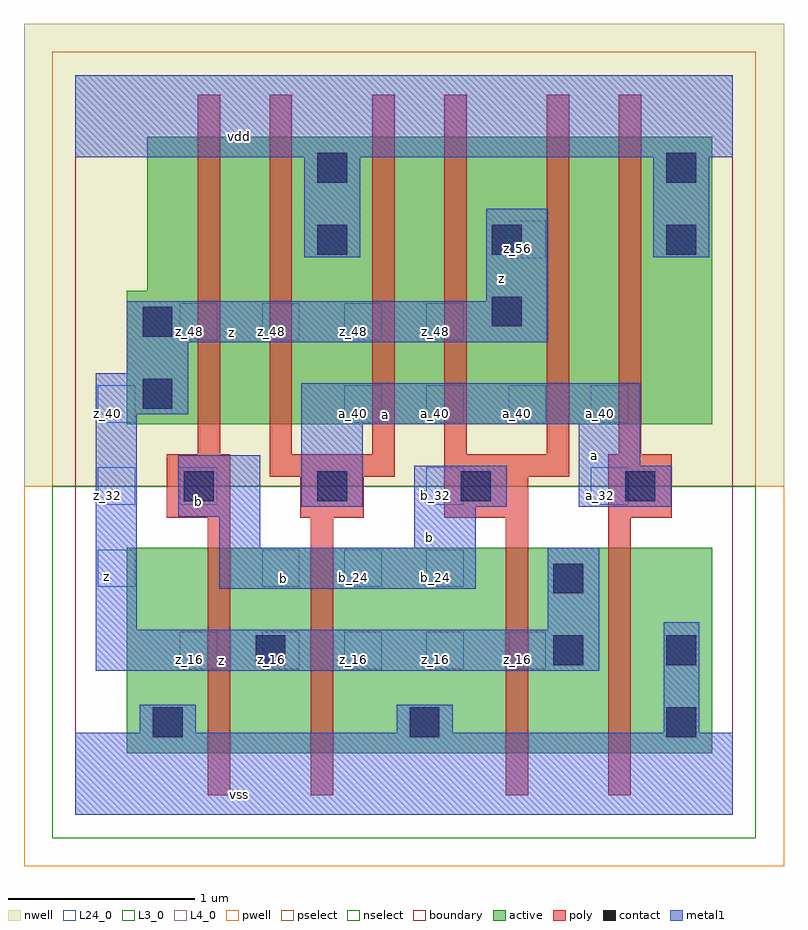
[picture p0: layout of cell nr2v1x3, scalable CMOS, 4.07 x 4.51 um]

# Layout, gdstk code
import gdstk
lib = gdstk.Library(unit=1e-6, precision=2.5e-09)
def R(c, l, rs):  # rectangles x0, y0, x1, y1
    for r in rs: c.add(gdstk.rectangle(r[:2], r[2:], *l))
def A(c, l, x, y, w, h, nx, ny, dx, dy):  # array of equal rectangles
    R(c, l, [(x+i*dx, y+j*dy, x+i*dx+w, y+j*dy+h) for i in range(nx) for j in range(ny)])
L3_0 = (3, 0)
L4_0 = (4, 0)
L24_0 = (24, 0)
contact = (25, 0)
pwell = (41, 0)
nwell = (42, 0)
active = (43, 0)
pselect = (44, 0)
nselect = (45, 0)
poly = (46, 0)
metal1 = (49, 0)
boundary = (63, 0)

nr2v1x3 = lib.new_cell('nr2v1x3')
R(nr2v1x3, L3_0, [(0.275,0.33,3.41,1.43)])
R(nr2v1x3, L4_0, [(0.275,2.09,3.41,2.805), (0.385,2.805,3.41,3.63)])
A(nr2v1x3, L24_0, 0.56, 0.78, 0.2, 0.2, 5, 1, 0.44, 0)
A(nr2v1x3, L24_0, 0.12, 1.22, 0.2, 0.2, 1, 3, 0, 0.44)
A(nr2v1x3, L24_0, 1, 1.22, 0.2, 0.2, 3, 1, 0.44, 0)
A(nr2v1x3, L24_0, 1.44, 2.1, 0.2, 0.2, 4, 1, 0.44, 0)
A(nr2v1x3, L24_0, 0.56, 2.54, 0.2, 0.2, 4, 1, 0.44, 0)
R(nr2v1x3, L24_0, [(0.56,1.66,0.76,1.86), (1.88,1.66,2.08,1.86), (2.76,1.66,2.96,1.86), (2.32,2.98,2.52,3.18)])
A(nr2v1x3, contact, 0.415, 0.415, 0.16, 0.16, 3, 1, 1.375, 0)
A(nr2v1x3, contact, 1.295, 3, 0.16, 0.16, 3, 1, 0.935, 0)
R(nr2v1x3, contact, [(0.965,0.8,1.125,0.96), (2.56,0.8,2.72,0.96), (3.165,0.8,3.325,0.96), (2.56,1.185,2.72,1.345), (0.58,1.68,0.74,1.84), (1.295,1.68,1.455,1.84), (2.065,1.68,2.225,1.84), (2.945,1.68,3.105,1.84), (0.36,2.175,0.52,2.335), (0.36,2.56,0.52,2.72), (2.23,2.615,2.39,2.775), (1.295,3.385,1.455,3.545), (3.165,3.385,3.325,3.545)])
R(nr2v1x3, pwell, [(-0.275,-0.275,3.795,1.76)])
R(nr2v1x3, nwell, [(-0.275,1.76,3.795,4.235)])
R(nr2v1x3, active, [(0.275,0.33,3.41,1.43), (0.275,2.09,3.41,2.805), (0.385,2.805,3.41,3.63)])
R(nr2v1x3, pselect, [(-0.125,1.76,3.645,4.085)])
R(nr2v1x3, nselect, [(-0.125,-0.125,3.645,1.76)])
R(nr2v1x3, poly, [(0.71,0.105,0.83,1.59), (1.26,0.105,1.38,1.59), (2.305,0.105,2.425,1.59), (2.855,0.105,2.975,1.59), (0.49,1.59,0.83,1.93), (1.205,1.59,1.545,1.81), (1.975,1.59,2.425,1.81), (2.855,1.59,3.195,1.93), (1.04,1.81,1.71,1.93), (1.975,1.81,2.645,1.93), (0.655,1.93,0.775,3.855), (1.04,1.93,1.16,3.855), (1.59,1.93,1.71,3.855), (1.975,1.93,2.095,3.855), (2.525,1.93,2.645,3.855), (2.91,1.93,3.03,3.855)])
R(nr2v1x3, metal1, [(0,0,3.52,0.44), (0.345,0.44,0.645,0.59), (1.72,0.44,2.02,0.59), (3.15,0.44,3.34,1.03), (0.11,0.77,2.805,0.99), (0.11,0.99,0.33,2.145), (2.53,0.99,2.805,1.43), (0.77,1.21,2.145,1.43), (0.77,1.43,0.99,1.595), (1.815,1.43,2.145,1.65), (0.55,1.595,0.99,1.925), (1.21,1.65,1.54,2.09), (1.815,1.65,2.31,1.87), (2.695,1.65,3.19,1.87), (2.695,1.87,3.025,2.09), (1.21,2.09,3.025,2.31), (0.11,2.145,0.605,2.365), (0.275,2.365,0.605,2.53), (0.275,2.53,2.53,2.75), (2.2,2.75,2.53,3.245), (1.225,2.985,1.525,3.52), (3.095,2.985,3.395,3.52), (0,3.52,3.52,3.96)])
R(nr2v1x3, boundary, [(0,0,3.52,3.96)])
nr2v1x3.add(gdstk.Label('vss', (0.88,0.11), layer=49, texttype=0))
nr2v1x3.add(gdstk.Label('z', (0.7825,0.825), layer=49, texttype=0))
nr2v1x3.add(gdstk.Label('b', (1.1125,1.265), layer=49, texttype=0))
nr2v1x3.add(gdstk.Label('b', (1.8975,1.485), layer=49, texttype=0))
nr2v1x3.add(gdstk.Label('a', (2.7775,1.925), layer=49, texttype=0))
nr2v1x3.add(gdstk.Label('b', (0.66,1.6775), layer=49, texttype=0))
nr2v1x3.add(gdstk.Label('a', (1.6625,2.145), layer=49, texttype=0))
nr2v1x3.add(gdstk.Label('z', (0.165,1.2775), layer=49, texttype=0))
nr2v1x3.add(gdstk.Label('z', (0.8375,2.585), layer=49, texttype=0))
nr2v1x3.add(gdstk.Label('z', (2.2825,2.8725), layer=49, texttype=0))
nr2v1x3.add(gdstk.Label('vdd', (0.88,3.63), layer=49, texttype=0))
nr2v1x3.add(gdstk.Label('a_40', (2.81,2.15), layer=24, texttype=0))
nr2v1x3.add(gdstk.Label('a_32', (2.81,1.71), layer=24, texttype=0))
nr2v1x3.add(gdstk.Label('z_56', (2.37,3.03), layer=24, texttype=0))
nr2v1x3.add(gdstk.Label('a_40', (2.37,2.15), layer=24, texttype=0))
nr2v1x3.add(gdstk.Label('z_16', (2.37,0.83), layer=24, texttype=0))
nr2v1x3.add(gdstk.Label('z_40', (0.17,2.15), layer=24, texttype=0))
nr2v1x3.add(gdstk.Label('z_32', (0.17,1.71), layer=24, texttype=0))
nr2v1x3.add(gdstk.Label('z_24', (0.17,1.27), layer=24, texttype=0))
nr2v1x3.add(gdstk.Label('z_48', (1.93,2.59), layer=24, texttype=0))
nr2v1x3.add(gdstk.Label('a_40', (1.93,2.15), layer=24, texttype=0))
nr2v1x3.add(gdstk.Label('b_32', (1.93,1.71), layer=24, texttype=0))
nr2v1x3.add(gdstk.Label('b_24', (1.93,1.27), layer=24, texttype=0))
nr2v1x3.add(gdstk.Label('z_16', (1.93,0.83), layer=24, texttype=0))
nr2v1x3.add(gdstk.Label('z_48', (1.49,2.59), layer=24, texttype=0))
nr2v1x3.add(gdstk.Label('a_40', (1.49,2.15), layer=24, texttype=0))
nr2v1x3.add(gdstk.Label('b_24', (1.49,1.27), layer=24, texttype=0))
nr2v1x3.add(gdstk.Label('z_16', (1.49,0.83), layer=24, texttype=0))
nr2v1x3.add(gdstk.Label('z_48', (1.05,2.59), layer=24, texttype=0))
nr2v1x3.add(gdstk.Label('b_24', (1.05,1.27), layer=24, texttype=0))
nr2v1x3.add(gdstk.Label('z_16', (1.05,0.83), layer=24, texttype=0))
nr2v1x3.add(gdstk.Label('z_48', (0.61,2.59), layer=24, texttype=0))
nr2v1x3.add(gdstk.Label('b_32', (0.61,1.71), layer=24, texttype=0))
nr2v1x3.add(gdstk.Label('z_16', (0.61,0.83), layer=24, texttype=0))

lib.write_gds('nr2v1x3.gds')
